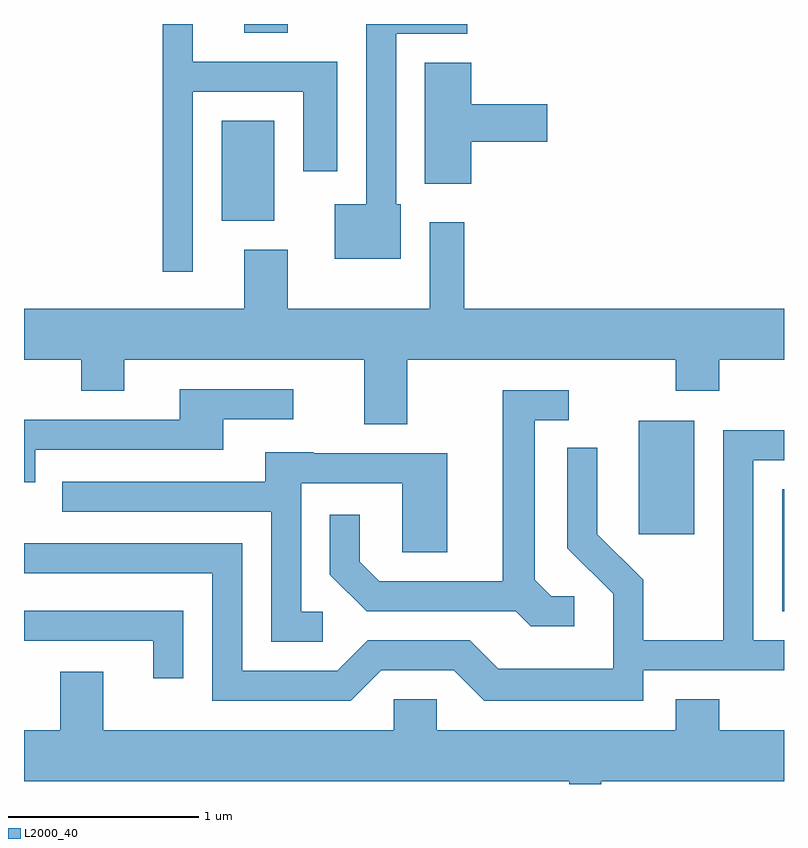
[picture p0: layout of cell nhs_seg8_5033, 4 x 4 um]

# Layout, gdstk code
import gdstk
lib = gdstk.Library(unit=1e-6, precision=1e-09)
def R(c, l, rs):  # rectangles x0, y0, x1, y1
    for r in rs: c.add(gdstk.rectangle(r[:2], r[2:], *l))
def P(c, l, *ps):  # polygons
    for p in ps: c.add(gdstk.Polygon(p, *l))
L2000_40 = (2000, 40)

nhs_seg8_5033 = lib.new_cell('nhs_seg8_5033')
R(nhs_seg8_5033, L2000_40, [(339.601,1897.251,339.611,1897.894), (338.846,1897.656,339.139,1898.254), (336.651,1899.306,336.929,1899.834), (336.771,1900.296,336.999,1900.342)])
P(nhs_seg8_5033, L2000_40, [(337.594,1899.394),(337.569,1899.394),(337.569,1900.291),(337.943,1900.291),(337.943,1900.342),(337.411,1900.342),(337.411,1899.394),(337.246,1899.394),(337.246,1899.106),(337.594,1899.106)],
  [(336.499,1899.986),(337.081,1899.986),(337.081,1899.566),(337.259,1899.566),(337.259,1900.144),(336.499,1900.144),(336.499,1900.342),(336.341,1900.342),(336.341,1899.038),(336.499,1899.038)],
  [(337.964,1899.721),(338.364,1899.721),(338.364,1899.919),(337.964,1899.919),(337.964,1900.139),(337.721,1900.139),(337.721,1899.501),(337.964,1899.501)],
  [(337.629,1898.576),(339.041,1898.576),(339.041,1898.411),(339.269,1898.411),(339.269,1898.576),(339.611,1898.576),(339.611,1898.844),(337.929,1898.844),(337.929,1899.299),(337.746,1899.299),(337.746,1898.844),(336.999,1898.844),(336.999,1899.154),(336.771,1899.154),(336.771,1898.844),(335.611,1898.844),(335.611,1898.576),(335.911,1898.576),(335.911,1898.411),(336.139,1898.411),(336.139,1898.576),(337.401,1898.576),(337.401,1898.236),(337.629,1898.236)],
  [(335.669,1898.101),(336.659,1898.101),(336.659,1898.261),(337.028,1898.261),(337.028,1898.419),(336.431,1898.419),(336.431,1898.259),(335.611,1898.259),(335.611,1897.931),(335.669,1897.931)],
  [(338.508,1897.329),(338.387,1897.329),(338.299,1897.417),(338.299,1898.256),(338.478,1898.256),(338.478,1898.414),(338.131,1898.414),(338.131,1897.409),(337.482,1897.409),(337.379,1897.512),(337.379,1897.758),(337.221,1897.758),(337.221,1897.444),(337.414,1897.251),(338.199,1897.251),(338.279,1897.171),(338.508,1897.171)],
  [(337.492,1896.941),(337.874,1896.941),(338.034,1896.781),(338.869,1896.781),(338.869,1896.941),(339.611,1896.941),(339.611,1897.099),(339.449,1897.099),(339.449,1898.046),(339.611,1898.046),(339.611,1898.204),(339.291,1898.204),(339.291,1897.099),(338.869,1897.099),(338.869,1897.417),(338.629,1897.657),(338.629,1898.113),(338.471,1898.113),(338.471,1897.584),(338.711,1897.344),(338.711,1896.949),(338.107,1896.949),(337.957,1897.099),(337.419,1897.099),(337.259,1896.939),(336.759,1896.939),(336.759,1897.609),(335.611,1897.609),(335.611,1897.451),(336.601,1897.451),(336.601,1896.781),(337.332,1896.781)],
  [(337.183,1897.249),(337.069,1897.249),(337.069,1897.926),(337.601,1897.926),(337.601,1897.561),(337.839,1897.561),(337.839,1898.084),(337.135,1898.084),(337.135,1898.089),(336.881,1898.089),(336.881,1897.934),(335.813,1897.934),(335.813,1897.776),(336.911,1897.776),(336.911,1897.091),(337.183,1897.091)],
  [(336.449,1897.254),(335.611,1897.254),(335.611,1897.096),(336.291,1897.096),(336.291,1896.898),(336.449,1896.898)],
  [(338.649,1896.356),(339.611,1896.356),(339.611,1896.624),(339.269,1896.624),(339.269,1896.789),(339.041,1896.789),(339.041,1896.624),(337.784,1896.624),(337.784,1896.789),(337.556,1896.789),(337.556,1896.624),(336.029,1896.624),(336.029,1896.934),(335.801,1896.934),(335.801,1896.624),(335.611,1896.624),(335.611,1896.356),(338.481,1896.356),(338.481,1896.342),(338.649,1896.342)])

lib.write_gds('nhs_seg8_5033.gds')
